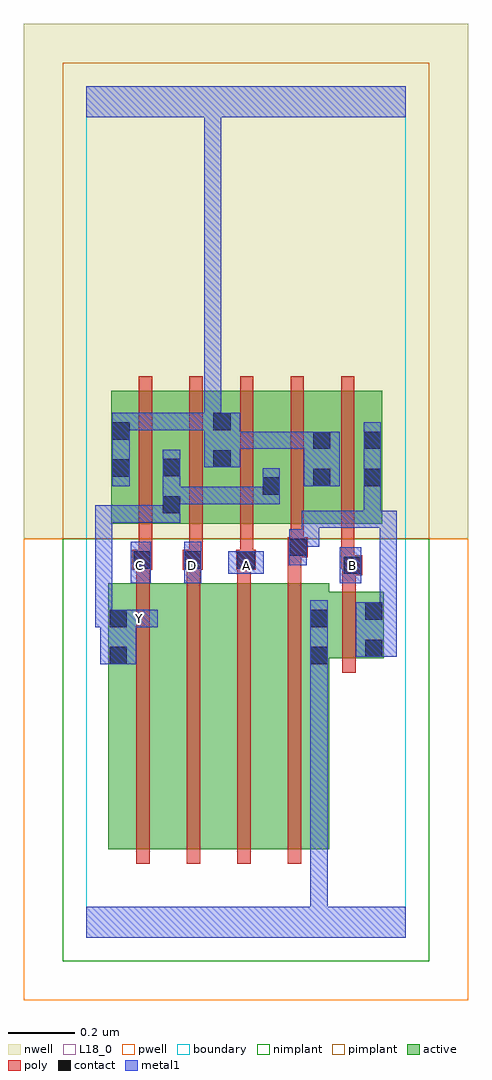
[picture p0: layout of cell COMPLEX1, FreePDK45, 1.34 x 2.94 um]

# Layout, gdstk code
import gdstk
lib = gdstk.Library(unit=1e-6, precision=1e-09)
def R(c, l, rs):  # rectangles x0, y0, x1, y1
    for r in rs: c.add(gdstk.rectangle(r[:2], r[2:], *l))
def A(c, l, x, y, w, h, nx, ny, dx, dy):  # array of equal rectangles
    R(c, l, [(x+i*dx, y+j*dy, x+i*dx+w, y+j*dy+h) for i in range(nx) for j in range(ny)])
active = (1, 0)
pwell = (2, 0)
nwell = (3, 0)
nimplant = (4, 0)
pimplant = (5, 0)
poly = (9, 0)
contact = (10, 0)
metal1 = (11, 0)
L18_0 = (18, 0)
boundary = (235, 0)

complex1 = lib.new_cell('COMPLEX1')
A(complex1, active, 0.074, 1.244, 0.06, 0.4, 3, 1, 0.152, 0)
A(complex1, active, 0.526, 1.244, 0.06, 0.4, 3, 1, 0.152, 0)
R(complex1, active, [(0.066,0.266,0.246,1.066), (0.246,0.266,0.398,1.066), (0.398,0.266,0.55,1.066), (0.55,0.266,0.73,1.066), (0.67,0.266,0.73,1.04), (0.066,0.356,0.126,1.066), (0.67,0.84,0.894,1.04), (0.834,0.84,0.894,1.04), (0.074,1.244,0.286,1.644), (0.226,1.244,0.438,1.644), (0.378,1.244,0.586,1.644), (0.526,1.244,0.738,1.644), (0.678,1.244,0.89,1.644)])
R(complex1, pwell, [(-0.188,-0.188,1.148,1.2)])
R(complex1, nwell, [(-0.188,1.2,1.148,2.748)])
R(complex1, nimplant, [(-0.072,-0.072,1.032,1.2)])
R(complex1, pimplant, [(-0.072,1.2,1.032,2.632)])
A(complex1, poly, 0.15, 0.222, 0.04, 0.888, 4, 1, 0.152, 0)
A(complex1, poly, 0.15, 1.07, 0.04, 0.076, 3, 1, 0.152, 0)
A(complex1, poly, 0.158, 1.126, 0.04, 0.114, 3, 1, 0.152, 0)
A(complex1, poly, 0.158, 1.2, 0.04, 0.488, 5, 1, 0.152, 0)
R(complex1, poly, [(0.77,0.796,0.81,1.084), (0.77,1.044,0.81,1.13), (0.606,1.07,0.646,1.184), (0.77,1.09,0.83,1.15), (0.138,1.106,0.198,1.166), (0.15,1.106,0.19,1.146), (0.15,1.106,0.19,1.146), (0.29,1.106,0.35,1.166), (0.302,1.106,0.342,1.146), (0.302,1.106,0.342,1.146), (0.45,1.106,0.51,1.166), (0.766,1.11,0.806,1.24), (0.766,1.11,0.81,1.15), (0.77,1.11,0.81,1.15), (0.462,1.126,0.502,1.166), (0.462,1.126,0.502,1.166), (0.606,1.144,0.646,1.184), (0.606,1.144,0.646,1.184), (0.606,1.144,0.666,1.204), (0.614,1.164,0.654,1.24)])
R(complex1, contact, [(0.07,0.822,0.122,0.874), (0.674,0.822,0.726,0.874), (0.838,0.844,0.89,0.896), (0.07,0.934,0.122,0.986), (0.674,0.934,0.726,0.986), (0.838,0.956,0.89,1.008), (0.774,1.094,0.826,1.146), (0.142,1.11,0.194,1.162), (0.294,1.11,0.346,1.162), (0.454,1.11,0.506,1.162), (0.61,1.148,0.662,1.2), (0.23,1.276,0.282,1.328), (0.53,1.332,0.582,1.384), (0.682,1.358,0.734,1.41), (0.834,1.358,0.886,1.41), (0.078,1.386,0.13,1.438), (0.23,1.388,0.282,1.44), (0.382,1.414,0.434,1.466), (0.682,1.47,0.734,1.522), (0.834,1.47,0.886,1.522), (0.078,1.498,0.13,1.55), (0.382,1.526,0.434,1.578)])
R(complex1, metal1, [(0,0,0.96,0.092), (0.674,0.04,0.726,0.846), (0.674,0.794,0.726,1.014), (0.674,0.794,0.726,0.846), (0.674,0.794,0.726,0.846), (0.674,0.794,0.726,0.846), (0.674,0.794,0.726,0.846), (0.042,0.822,0.15,0.986), (0.81,0.844,0.934,1.008), (0.026,0.934,0.078,1.3), (0.026,0.934,0.214,0.986), (0.042,0.934,0.094,0.986), (0.882,0.956,0.934,1.284), (0.882,0.956,0.934,1.008), (0.882,0.956,0.934,1.008), (0.134,1.066,0.194,1.19), (0.294,1.066,0.346,1.19), (0.762,1.066,0.826,1.174), (0.426,1.094,0.534,1.162), (0.61,1.12,0.662,1.228), (0.61,1.176,0.7,1.228), (0.648,1.176,0.7,1.284), (0.648,1.232,0.886,1.284), (0.834,1.232,0.886,1.382), (0.834,1.232,0.886,1.284), (0.834,1.232,0.886,1.284), (0.834,1.232,0.934,1.284), (0.026,1.248,0.078,1.3), (0.026,1.248,0.078,1.3), (0.026,1.248,0.078,1.3), (0.026,1.248,0.078,1.3), (0.026,1.248,0.078,1.3), (0.026,1.248,0.282,1.3), (0.23,1.248,0.282,1.468), (0.23,1.304,0.282,1.356), (0.23,1.304,0.282,1.356), (0.23,1.304,0.438,1.356), (0.386,1.304,0.438,1.356), (0.386,1.304,0.438,1.356), (0.386,1.304,0.438,1.356), (0.386,1.304,0.582,1.356), (0.53,1.304,0.582,1.412), (0.834,1.33,0.886,1.55), (0.078,1.358,0.13,1.578), (0.654,1.358,0.762,1.522), (0.354,1.414,0.462,1.578), (0.41,1.47,0.462,1.522), (0.41,1.47,0.462,1.522), (0.41,1.47,0.572,1.522), (0.52,1.47,0.572,1.522), (0.52,1.47,0.572,1.522), (0.52,1.47,0.572,1.522), (0.52,1.47,0.706,1.522), (0.078,1.526,0.13,1.578), (0.078,1.526,0.13,1.578), (0.078,1.526,0.26,1.578), (0.208,1.526,0.26,1.578), (0.208,1.526,0.26,1.578), (0.208,1.526,0.26,1.578), (0.208,1.526,0.406,1.578), (0.354,1.526,0.406,1.578), (0.354,1.526,0.406,1.578), (0.354,1.526,0.406,1.578), (0.354,1.526,0.406,1.578), (0.354,1.526,0.406,1.578), (0.354,1.526,0.406,1.578), (0.354,1.526,0.406,2.52), (0,2.468,0.96,2.56), (0.354,2.468,0.406,2.52), (0.354,2.468,0.406,2.52), (0.354,2.468,0.406,2.52), (0.354,2.468,0.406,2.52), (0.354,2.468,0.406,2.52), (0.354,2.468,0.406,2.52), (0.354,2.468,0.406,2.52), (0.354,2.468,0.406,2.52), (0.354,2.468,0.406,2.52), (0.354,2.468,0.406,2.52)])
A(complex1, L18_0, 0.134, 1.094, 0.052, 0.052, 3, 1, 0.16, 0)
R(complex1, L18_0, [(0,0,0.96,0.092), (0.674,0.04,0.726,0.846), (0.674,0.794,0.726,0.846), (0.674,0.794,0.726,0.846), (0.674,0.794,0.726,0.846), (0.674,0.794,0.726,0.846), (0.674,0.794,0.726,1.014), (0.042,0.822,0.15,0.986), (0.026,0.934,0.214,0.986), (0.026,0.934,0.078,1.3), (0.042,0.934,0.094,0.986), (0.134,0.934,0.186,0.986), (0.134,1.066,0.194,1.19), (0.294,1.066,0.346,1.19), (0.762,1.066,0.826,1.174), (0.426,1.094,0.534,1.162), (0.774,1.094,0.826,1.146), (0.026,1.248,0.078,1.3), (0.026,1.248,0.078,1.3), (0.026,1.248,0.078,1.3), (0.026,1.248,0.078,1.3), (0.026,1.248,0.078,1.3), (0.026,1.248,0.282,1.3), (0.23,1.248,0.282,1.468), (0.23,1.304,0.282,1.356), (0.23,1.304,0.282,1.356), (0.23,1.304,0.438,1.356), (0.386,1.304,0.438,1.356), (0.386,1.304,0.438,1.356), (0.386,1.304,0.438,1.356), (0.386,1.304,0.582,1.356), (0.53,1.304,0.582,1.412), (0.078,1.358,0.13,1.578), (0.654,1.358,0.762,1.522), (0.354,1.414,0.462,1.578), (0.41,1.47,0.462,1.522), (0.41,1.47,0.462,1.522), (0.41,1.47,0.572,1.522), (0.52,1.47,0.572,1.522), (0.52,1.47,0.572,1.522), (0.52,1.47,0.572,1.522), (0.52,1.47,0.706,1.522), (0.078,1.526,0.13,1.578), (0.078,1.526,0.13,1.578), (0.078,1.526,0.26,1.578), (0.208,1.526,0.26,1.578), (0.208,1.526,0.26,1.578), (0.208,1.526,0.26,1.578), (0.208,1.526,0.406,1.578), (0.354,1.526,0.406,1.578), (0.354,1.526,0.406,1.578), (0.354,1.526,0.406,1.578), (0.354,1.526,0.406,1.578), (0.354,1.526,0.406,1.578), (0.354,1.526,0.406,1.578), (0.354,1.526,0.406,2.52), (0,2.468,0.96,2.56), (0.354,2.468,0.406,2.52), (0.354,2.468,0.406,2.52), (0.354,2.468,0.406,2.52), (0.354,2.468,0.406,2.52), (0.354,2.468,0.406,2.52), (0.354,2.468,0.406,2.52), (0.354,2.468,0.406,2.52), (0.354,2.468,0.406,2.52), (0.354,2.468,0.406,2.52), (0.354,2.468,0.406,2.52)])
R(complex1, boundary, [(0,0,0.96,2.56)])
complex1.add(gdstk.Label('A', (0.48,1.12), layer=11, texttype=0))
complex1.add(gdstk.Label('B', (0.8,1.12), layer=11, texttype=0))
complex1.add(gdstk.Label('C', (0.16,1.12), layer=11, texttype=0))
complex1.add(gdstk.Label('D', (0.32,1.12), layer=11, texttype=0))
complex1.add(gdstk.Label('Y', (0.16,0.96), layer=11, texttype=0))

lib.write_gds('COMPLEX1.gds')
